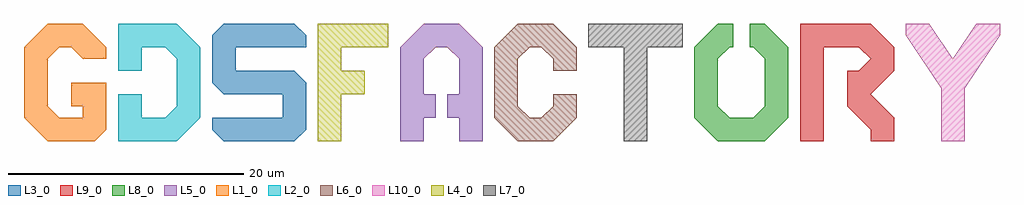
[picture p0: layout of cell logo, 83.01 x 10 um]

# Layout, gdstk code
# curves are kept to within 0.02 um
import gdstk
lib = gdstk.Library(unit=1e-6, precision=1e-09)
def P(c, l, *ps):  # polygons
    for p in ps: c.add(gdstk.Polygon(p, *l))
L1_0 = (1, 0)
L2_0 = (2, 0)
L3_0 = (3, 0)
L4_0 = (4, 0)
L5_0 = (5, 0)
L6_0 = (6, 0)
L7_0 = (7, 0)
L8_0 = (8, 0)
L9_0 = (9, 0)
L10_0 = (10, 0)

text_layer1__0_size10_te = lib.new_cell('text_layer1__0_size10_textG')
P(text_layer1__0_size10_te, L1_0, [(2,0),(0,2),(0,8),(2,10),(5,10),(7,8),(7,7),(5,7),(4,8),(3,8),(2,7),(2,3),(3,2),(5,2),(5,3),(4,3),(4,5),(7,5),(7,1),(6,0)])

text_layer2__0_size10_te = lib.new_cell('text_layer2__0_size10_textD')
P(text_layer2__0_size10_te, L2_0, [(0,0),(0,4),(2,4),(2,2),(4,2),(5,3),(5,7),(4,8),(2,8),(2,6),(0,6),(0,10),(5,10),(7,8),(7,2),(5,0)])

text_layer3__0_size10_te = lib.new_cell('text_layer3__0_size10_textS')
P(text_layer3__0_size10_te, L3_0, [(8,8),(2,8),(2,6),(7,6),(8,5),(8,1),(7,0),(1,0),(0,1),(0,2),(6,2),(6,4),(1,4),(0,5),(0,9),(1,10),(7,10),(8,9)])

text_layer4__0_size10_te = lib.new_cell('text_layer4__0_size10_textF')
P(text_layer4__0_size10_te, L4_0, [(0,0),(0,10),(6,10),(6,8),(2,8),(2,6),(4,6),(4,4),(2,4),(2,0),(0,0)])

text_layer5__0_size10_te = lib.new_cell('text_layer5__0_size10_textA')
P(text_layer5__0_size10_te, L5_0, [(0.01,8),(2.01,10),(5.02,10),(7.01,8),(7.01,0),(5.02,0),(5.02,2),(4.01,2),(4.01,4),(5.02,4),(5.02,7),(4.01,8),(3.01,8),(2.01,7),(2.01,4),(3.01,4),(3.01,2),(2.01,2),(2.01,0),(0,0)])

text_layer6__0_size10_te = lib.new_cell('text_layer6__0_size10_textC')
P(text_layer6__0_size10_te, L6_0, [(2,0),(0,2),(0,8),(2,10),(5,10),(7,8),(7,6),(5,6),(5,7),(4,8),(3,8),(2,7),(2,3),(3,2),(4,2),(5,3),(5,4),(7,4),(7,2),(5,0)])

text_layer7__0_size10_te = lib.new_cell('text_layer7__0_size10_textT')
P(text_layer7__0_size10_te, L7_0, [(8,10),(8,8),(5,8),(5,0),(3,0),(3,8),(0,8),(0,10),(8,10)])

text_layer8__0_size10_te = lib.new_cell('text_layer8__0_size10_textO')
P(text_layer8__0_size10_te, L8_0, [(0,8),(2,10),(3.3,10),(3.3,8),(3,8),(2,7),(2,3),(3,2),(5,2),(6,3),(6,7),(5,8),(4.7,8),(4.7,10),(6,10),(8,8),(8,2),(6,0),(2,0),(0,2)])

text_layer9__0_size10_te = lib.new_cell('text_layer9__0_size10_textR')
P(text_layer9__0_size10_te, L9_0, [(0,10),(6,10),(8,8),(8,6),(6,4),(8,2),(8,0),(6,0),(6,1),(4,3),(4,6),(5,6),(6,7),(5,8),(2,8),(2,0),(0,0)])

text_layer10__0_size10_t = lib.new_cell('text_layer10__0_size10_textY')
P(text_layer10__0_size10_t, L10_0, [(5,4.5),(5,0),(3,0),(3,4.5),(0,9),(0,10),(2,10),(4,7),(6,10),(8,10),(8,9),(5,4.5)])

logo = lib.new_cell('logo')
logo.add(gdstk.Reference(text_layer1__0_size10_te, (0,0)))
logo.add(gdstk.Reference(text_layer2__0_size10_te, (8,0)))
logo.add(gdstk.Reference(text_layer3__0_size10_te, (16,0)))
logo.add(gdstk.Reference(text_layer4__0_size10_te, (25,0)))
logo.add(gdstk.Reference(text_layer5__0_size10_te, (32,0)))
logo.add(gdstk.Reference(text_layer6__0_size10_te, (40.01,0)))
logo.add(gdstk.Reference(text_layer7__0_size10_te, (48.01,0)))
logo.add(gdstk.Reference(text_layer8__0_size10_te, (57.01,0)))
logo.add(gdstk.Reference(text_layer9__0_size10_te, (66.01,0)))
logo.add(gdstk.Reference(text_layer10__0_size10_t, (75.01,0)))

lib.write_gds('logo.gds')
